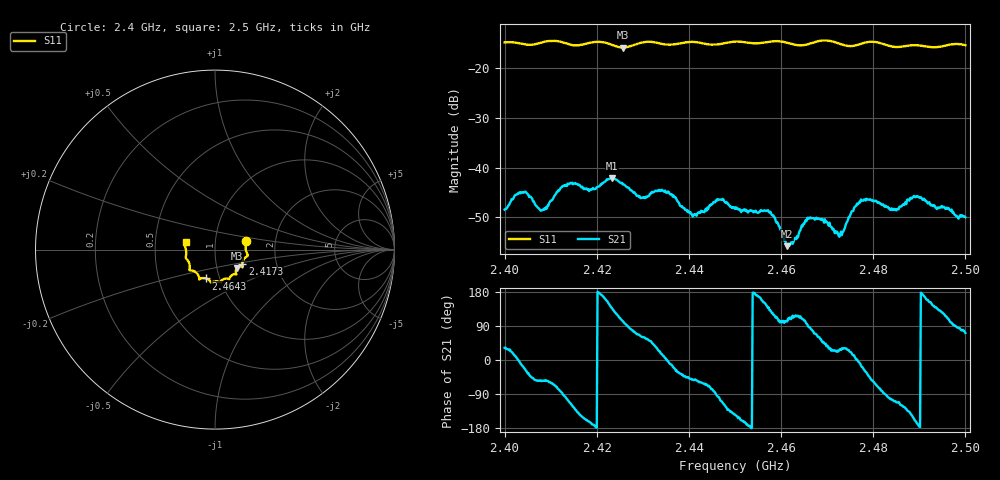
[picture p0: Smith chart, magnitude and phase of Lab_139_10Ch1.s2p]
# Hz S RI R 50
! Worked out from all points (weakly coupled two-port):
!   601 points, 2.4 GHz to 2.5 GHz, reference 50 ohm
!   highest |S21| = -42.08 dB at 2.4233 GHz (marker M1); lowest = -55.8 dB at 2.4613 GHz (marker M2)
!   lowest |S11| = -15.9 dB at 2.4257 GHz (marker M3), VSWR 1.38, Z = 62.5 - j13.1 ohm
!   |S11| at or under -10 dB: start of sweep to end of sweep
!   S12 and S22 are empty: the file has one direction only
!   S11 on the Smith chart (normalised r, x): 2.4 GHz: 1.41, +0.15; 2.4173 GHz: 1.34, -0.23; 2.4643 GHz: 0.86, -0.28; 2.5 GHz: 0.72, +0.06
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2.4e9  0.173 0.0498  0.00321 0.00201  0 0  0 0
2.4035e9  0.1725 0.0307  0.00544 -0.000962  0 0  0 0
2.408e9  0.1783 -0.021  0.0021 -0.00308  0 0  0 0
2.412667e9  0.1758 -0.0389  -0.000179 -0.00649  0 0  0 0
2.416667e9  0.1529 -0.0749  -0.00537 -0.00334  0 0  0 0
2.417333e9  0.1523 -0.0823  -0.00558 -0.00261  0 0  0 0
2.423333e9  0.1426 -0.0932  -0.00573 0.0054  0 0  0 0
2.425667e9  0.1228 -0.1024  -0.00149 0.00662  0 0  0 0
2.43e9  0.1179 -0.1364  0.0025 0.00436  0 0  0 0
2.433333e9  0.1126 -0.1367  0.00523 0.00254  0 0  0 0
2.441167e9  0.0775 -0.1646  0.00207 -0.00271  0 0  0 0
2.446667e9  0.0426 -0.1678  -0.000994 -0.00468  0 0  0 0
2.45e9  0.0296 -0.1809  -0.00312 -0.00226  0 0  0 0
2.457333e9  -0.0155 -0.1817  -0.00269 0.00238  0 0  0 0
2.461333e9  -0.0268 -0.1763  -0.000329 0.0016  0 0  0 0
2.464333e9  -0.0503 -0.1607  -0.000945 0.0023  0 0  0 0
2.466667e9  -0.0765 -0.1601  0.000564 0.00307  0 0  0 0
2.472833e9  -0.0903 -0.1482  0.00188 0.00102  0 0  0 0
2.4775e9  -0.1314 -0.116  0.00445 -0.00145  0 0  0 0
2.483333e9  -0.141 -0.0895  -0.00062 -0.00386  0 0  0 0
2.489333e9  -0.1629 -0.0444  -0.00495 -0.0014  0 0  0 0
2.5e9  -0.1634 0.0421  0.00102 0.003  0 0  0 0
